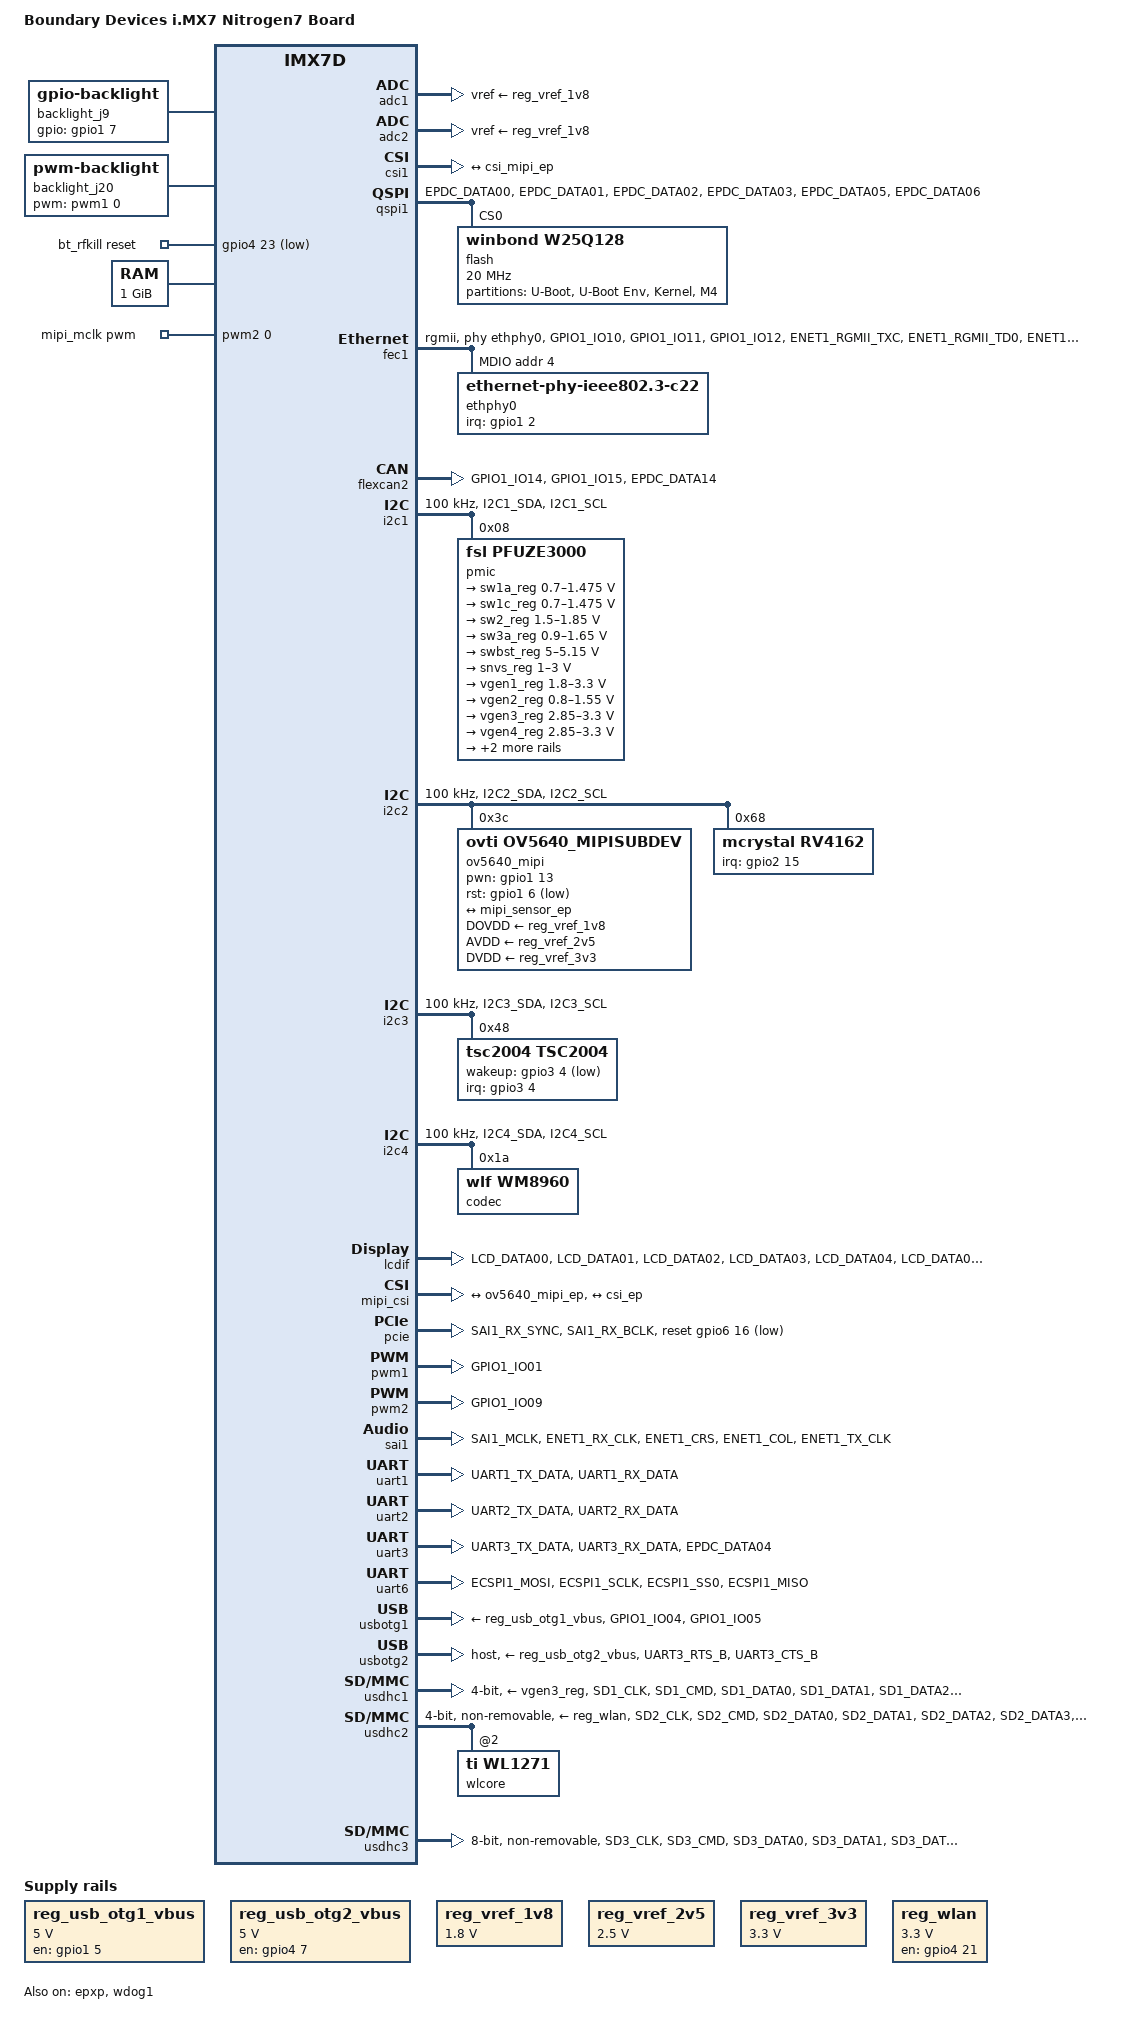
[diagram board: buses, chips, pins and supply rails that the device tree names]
/*
 * Copyright (C) 2015 Boundary Devices Inc.
 *
 * This program is free software; you can redistribute it and/or modify
 * it under the terms of the GNU General Public License version 2 as
 * published by the Free Software Foundation.
 */

/dts-v1/;

#include <dt-bindings/gpio/gpio.h>
#include <dt-bindings/input/input.h>
#include "imx7d.dtsi"

&iomuxc {
	pinctrl-names = "default";
	pinctrl-0 = <&pinctrl_hog_1 &pinctrl_j2>;

	iomuxc_nitrogen7: iomuxc-nitrogen7grp {
		status = "okay";
	};
};

&iomuxc_lpsr {
	pinctrl-names = "default";
	pinctrl-0 = <&pinctrl_hog_2>;

	iomuxc_lpsr_nitrogen7: iomuxc-lpsr-nitrogen7grp {
		status = "okay";
	};
};

&iomuxc_nitrogen7 {
	pinctrl_hog_1: hoggrp-1 {
		fsl,pins = <
			MX7D_PAD_SD3_RESET_B__GPIO6_IO11	0x5d /* eMMC reset */
			MX7D_PAD_GPIO1_IO13__GPIO1_IO13		0x7d /* MIPI backlight */
			MX7D_PAD_ECSPI2_MISO__GPIO4_IO22	0x7d /* pmic */
		>;
	};

	pinctrl_bt_rfkill: btrfkillgrp {
		fsl,pins = <
			MX7D_PAD_ECSPI2_SS0__GPIO4_IO23		0x7d
		>;
	};

	pinctrl_enet1: enet1grp {
		fsl,pins = <
			MX7D_PAD_GPIO1_IO10__ENET1_MDIO			0x3
			MX7D_PAD_GPIO1_IO11__ENET1_MDC			0x3
			MX7D_PAD_GPIO1_IO12__CCM_ENET_REF_CLK1		0x3
			MX7D_PAD_ENET1_RGMII_TXC__ENET1_RGMII_TXC	0x71
			MX7D_PAD_ENET1_RGMII_TD0__ENET1_RGMII_TD0	0x71
			MX7D_PAD_ENET1_RGMII_TD1__ENET1_RGMII_TD1	0x71
			MX7D_PAD_ENET1_RGMII_TD2__ENET1_RGMII_TD2	0x71
			MX7D_PAD_ENET1_RGMII_TD3__ENET1_RGMII_TD3	0x71
			MX7D_PAD_ENET1_RGMII_TX_CTL__ENET1_RGMII_TX_CTL	0x71
			MX7D_PAD_ENET1_RGMII_RXC__ENET1_RGMII_RXC	0x71
			MX7D_PAD_ENET1_RGMII_RD0__ENET1_RGMII_RD0	0x11
			MX7D_PAD_ENET1_RGMII_RD1__ENET1_RGMII_RD1	0x11
			MX7D_PAD_ENET1_RGMII_RD2__ENET1_RGMII_RD2	0x11
			MX7D_PAD_ENET1_RGMII_RD3__ENET1_RGMII_RD3	0x71
			MX7D_PAD_ENET1_RGMII_RX_CTL__ENET1_RGMII_RX_CTL	0x11
			MX7D_PAD_SD3_STROBE__GPIO6_IO10			0x75 /* Reset */
		>;
	};

	pinctrl_flash: flashgrp {
		fsl,pins = <
			MX7D_PAD_EPDC_DATA00__QSPI_A_DATA0	0x71
			MX7D_PAD_EPDC_DATA01__QSPI_A_DATA1	0x71
			MX7D_PAD_EPDC_DATA02__QSPI_A_DATA2	0x71
			MX7D_PAD_EPDC_DATA03__QSPI_A_DATA3	0x71
			MX7D_PAD_EPDC_DATA05__QSPI_A_SCLK	0x71
			MX7D_PAD_EPDC_DATA06__QSPI_A_SS0_B	0x71
		>;
	};

	pinctrl_flexcan2: flexcan2grp {
		fsl,pins = <
			MX7D_PAD_GPIO1_IO14__FLEXCAN2_RX	0x7d
			MX7D_PAD_GPIO1_IO15__FLEXCAN2_TX	0x7d
			MX7D_PAD_EPDC_DATA14__GPIO2_IO14	0x7d
		>;
	};

	pinctrl_i2c1: i2c1grp {
		fsl,pins = <
			MX7D_PAD_I2C1_SDA__I2C1_SDA	0x4000007f
			MX7D_PAD_I2C1_SCL__I2C1_SCL	0x4000007f
		>;
	};

	pinctrl_i2c2: i2c2grp {
		fsl,pins = <
			MX7D_PAD_I2C2_SDA__I2C2_SDA	0x4000007f
			MX7D_PAD_I2C2_SCL__I2C2_SCL	0x4000007f
		>;
	};

	pinctrl_i2c2_rv4162: i2c2-rv4162grp {
		fsl,pins = <
			MX7D_PAD_EPDC_DATA15__GPIO2_IO15	0x7d
		>;
	};

	pinctrl_i2c3: i2c3grp {
		fsl,pins = <
			MX7D_PAD_I2C3_SDA__I2C3_SDA	0x4000007f
			MX7D_PAD_I2C3_SCL__I2C3_SCL	0x4000007f
		>;
	};

	pinctrl_i2c3_tsc2004: i2c3tsc2004grp {
		fsl,pins = <
			MX7D_PAD_LCD_RESET__GPIO3_IO4	0x79
			MX7D_PAD_SD2_WP__GPIO5_IO10	0x7d
		>;
	};

	pinctrl_i2c4: i2c4grp {
		fsl,pins = <
			MX7D_PAD_I2C4_SDA__I2C4_SDA	0x4000007f
			MX7D_PAD_I2C4_SCL__I2C4_SCL	0x4000007f
		>;
	};

	pinctrl_j2: j2grp {
		fsl,pins = <
			MX7D_PAD_SAI1_TX_DATA__GPIO6_IO15	0x7d /* pin 1 */
			MX7D_PAD_EPDC_BDR0__GPIO2_IO28		0x7d /* pin 2 */
			MX7D_PAD_SAI1_RX_DATA__GPIO6_IO12	0x7d /* pin 3 */
			MX7D_PAD_EPDC_BDR1__GPIO2_IO29		0x7d /* pin 4 */
			MX7D_PAD_SD1_WP__GPIO5_IO1		0x7d /* pin 5 */
			MX7D_PAD_EPDC_SDSHR__GPIO2_IO19		0x7d /* pin 6 */
			MX7D_PAD_SD1_RESET_B__GPIO5_IO2		0x7d /* pin 7 */
			MX7D_PAD_SD2_RESET_B__GPIO5_IO11	0x7d /* pin 10 */
			MX7D_PAD_EPDC_DATA07__GPIO2_IO7		0x7d /* pin 15 */
			MX7D_PAD_EPDC_DATA08__GPIO2_IO8		0x7d /* pin 17 */
			MX7D_PAD_EPDC_DATA09__GPIO2_IO9		0x7d /* pin 19 */
			MX7D_PAD_EPDC_DATA10__GPIO2_IO10	0x7d /* pin 21 */
			MX7D_PAD_EPDC_DATA11__GPIO2_IO11	0x7d /* pin 23 */
			MX7D_PAD_EPDC_DATA12__GPIO2_IO12	0x7d /* pin 25 */
			MX7D_PAD_SAI1_TX_SYNC__GPIO6_IO14	0x7d /* pin 26 */
			MX7D_PAD_EPDC_DATA13__GPIO2_IO13	0x7d /* pin 27 */
			MX7D_PAD_SAI1_TX_BCLK__GPIO6_IO13	0x7d /* pin 28 */
			MX7D_PAD_SD2_CD_B__GPIO5_IO9		0x7d /* pin 30 */
			MX7D_PAD_EPDC_GDCLK__GPIO2_IO24		0x7d /* pin 33 */
			MX7D_PAD_SAI2_RX_DATA__GPIO6_IO21	0x7d /* pin 34 */
			MX7D_PAD_EPDC_GDOE__GPIO2_IO25		0x7d /* pin 35 */
			MX7D_PAD_EPDC_GDRL__GPIO2_IO26		0x7d /* pin 37 */
			MX7D_PAD_SAI2_TX_DATA__GPIO6_IO22	0x7d /* pin 38 */
			MX7D_PAD_EPDC_SDCE0__GPIO2_IO20		0x7d /* pin 39 */
			MX7D_PAD_SAI2_TX_BCLK__GPIO6_IO20	0x7d /* pin 40 */
			MX7D_PAD_EPDC_SDCE1__GPIO2_IO21		0x7d /* pin 41 */
			MX7D_PAD_SAI2_TX_SYNC__GPIO6_IO19	0x7d /* pin 42 */
			MX7D_PAD_EPDC_SDCE2__GPIO2_IO22		0x7d /* pin 43 */
			MX7D_PAD_EPDC_SDCE3__GPIO2_IO23		0x7d /* pin 45 */
			MX7D_PAD_EPDC_GDSP__GPIO2_IO27		0x7d /* pin 47 */
			MX7D_PAD_EPDC_SDCLK__GPIO2_IO16		0x7d /* pin 51 */
			MX7D_PAD_EPDC_SDLE__GPIO2_IO17		0x7d /* pin 53 */
			MX7D_PAD_EPDC_SDOE__GPIO2_IO18		0x7d /* pin 55 */
			MX7D_PAD_EPDC_PWR_COM__GPIO2_IO30	0x7d /* pin 57 */
			MX7D_PAD_EPDC_PWR_STAT__GPIO2_IO31	0x7d /* pin 59 */
		>;
	};

	pinctrl_lcdif_dat: lcdifdatgrp {
		fsl,pins = <
			MX7D_PAD_LCD_DATA00__LCD_DATA0		0x79
			MX7D_PAD_LCD_DATA01__LCD_DATA1		0x79
			MX7D_PAD_LCD_DATA02__LCD_DATA2		0x79
			MX7D_PAD_LCD_DATA03__LCD_DATA3		0x79
			MX7D_PAD_LCD_DATA04__LCD_DATA4		0x79
			MX7D_PAD_LCD_DATA05__LCD_DATA5		0x79
			MX7D_PAD_LCD_DATA06__LCD_DATA6		0x79
			MX7D_PAD_LCD_DATA07__LCD_DATA7		0x79
			MX7D_PAD_LCD_DATA08__LCD_DATA8		0x79
			MX7D_PAD_LCD_DATA09__LCD_DATA9		0x79
			MX7D_PAD_LCD_DATA10__LCD_DATA10		0x79
			MX7D_PAD_LCD_DATA11__LCD_DATA11		0x79
			MX7D_PAD_LCD_DATA12__LCD_DATA12		0x79
			MX7D_PAD_LCD_DATA13__LCD_DATA13		0x79
			MX7D_PAD_LCD_DATA14__LCD_DATA14		0x79
			MX7D_PAD_LCD_DATA15__LCD_DATA15		0x79
			MX7D_PAD_LCD_DATA16__LCD_DATA16		0x79
			MX7D_PAD_LCD_DATA17__LCD_DATA17		0x79
			MX7D_PAD_LCD_DATA18__LCD_DATA18		0x79
			MX7D_PAD_LCD_DATA19__LCD_DATA19		0x79
			MX7D_PAD_LCD_DATA20__LCD_DATA20		0x79
			MX7D_PAD_LCD_DATA21__LCD_DATA21		0x79
			MX7D_PAD_LCD_DATA22__LCD_DATA22		0x79
			MX7D_PAD_LCD_DATA23__LCD_DATA23		0x79
		>;
	};

	pinctrl_lcdif_ctrl: lcdifctrlgrp {
		fsl,pins = <
			MX7D_PAD_LCD_CLK__LCD_CLK		0x79
			MX7D_PAD_LCD_ENABLE__LCD_ENABLE		0x79
			MX7D_PAD_LCD_VSYNC__LCD_VSYNC		0x79
			MX7D_PAD_LCD_HSYNC__LCD_HSYNC		0x79
		>;
	};

	pinctrl_pcie: pciegrp {
		fsl,pins = <
			MX7D_PAD_SAI1_RX_SYNC__GPIO6_IO16	0x79
			MX7D_PAD_SAI1_RX_BCLK__GPIO6_IO17	0x79
		>;
	};

	pinctrl_pwm2: pwm2grp {
		fsl,pins = <
			MX7D_PAD_GPIO1_IO09__PWM2_OUT		0x7d
		>;
	};

	pinctrl_uart1: uart1grp {
		fsl,pins = <
			MX7D_PAD_UART1_TX_DATA__UART1_DCE_TX	0x79
			MX7D_PAD_UART1_RX_DATA__UART1_DCE_RX	0x79
		>;
	};

	pinctrl_uart2: uart2grp {
		fsl,pins = <
			MX7D_PAD_UART2_TX_DATA__UART2_DCE_TX	0x79
			MX7D_PAD_UART2_RX_DATA__UART2_DCE_RX	0x79
		>;
	};

	pinctrl_uart3: uart3grp {
		fsl,pins = <
			MX7D_PAD_UART3_TX_DATA__UART3_DCE_TX	0x79
			MX7D_PAD_UART3_RX_DATA__UART3_DCE_RX	0x79
			MX7D_PAD_EPDC_DATA04__GPIO2_IO4		0x7d
		>;
	};

	pinctrl_uart6: uart6grp {
		fsl,pins = <
			MX7D_PAD_ECSPI1_MOSI__UART6_DCE_TX	0x79
			MX7D_PAD_ECSPI1_SCLK__UART6_DCE_RX 	0x79
			MX7D_PAD_ECSPI1_SS0__UART6_DCE_CTS 	0x79
			MX7D_PAD_ECSPI1_MISO__UART6_DCE_RTS	0x79
		>;
	};

	pinctrl_usbotg2: usbotg2grp {
		fsl,pins = <
			MX7D_PAD_UART3_RTS_B__USB_OTG2_OC	0x7d
			MX7D_PAD_UART3_CTS_B__GPIO4_IO7		0x14
		>;
	};

	pinctrl_usdhc1: usdhc1grp {
		fsl,pins = <
			MX7D_PAD_SD1_CLK__SD1_CLK		0x0a
			MX7D_PAD_SD1_CMD__SD1_CMD		0x5a
			MX7D_PAD_SD1_DATA0__SD1_DATA0		0x5a
			MX7D_PAD_SD1_DATA1__SD1_DATA1		0x5a
			MX7D_PAD_SD1_DATA2__SD1_DATA2		0x5a
			MX7D_PAD_SD1_DATA3__SD1_DATA3		0x5a
			MX7D_PAD_GPIO1_IO08__SD1_VSELECT	0x75
			MX7D_PAD_SD1_CD_B__GPIO5_IO0		0x75
		>;
	};

	pinctrl_usdhc1_100mhz: usdhc1grp_100mhz {
		fsl,pins = <
			MX7D_PAD_SD1_CLK__SD1_CLK		0x09
			MX7D_PAD_SD1_CMD__SD1_CMD		0x59
			MX7D_PAD_SD1_DATA0__SD1_DATA0		0x59
			MX7D_PAD_SD1_DATA1__SD1_DATA1		0x59
			MX7D_PAD_SD1_DATA2__SD1_DATA2		0x59
			MX7D_PAD_SD1_DATA3__SD1_DATA3		0x59
		>;
	};

	pinctrl_usdhc1_200mhz: usdhc1grp_200mhz {
		fsl,pins = <
			MX7D_PAD_SD1_CLK__SD1_CLK		0x0b
			MX7D_PAD_SD1_CMD__SD1_CMD		0x5b
			MX7D_PAD_SD1_DATA0__SD1_DATA0		0x5b
			MX7D_PAD_SD1_DATA1__SD1_DATA1		0x5b
			MX7D_PAD_SD1_DATA2__SD1_DATA2		0x5b
			MX7D_PAD_SD1_DATA3__SD1_DATA3		0x5b
		>;
	};

	pinctrl_usdhc2: usdhc2grp {
		fsl,pins = <
			MX7D_PAD_SD2_CLK__SD2_CLK		0x0a
			MX7D_PAD_SD2_CMD__SD2_CMD		0x5a
			MX7D_PAD_SD2_DATA0__SD2_DATA0		0x5a
			MX7D_PAD_SD2_DATA1__SD2_DATA1   	0x5a
			MX7D_PAD_SD2_DATA2__SD2_DATA2   	0x5a
			MX7D_PAD_SD2_DATA3__SD2_DATA3   	0x5a
#define GPIRQ_WL1271	<&gpio4 20 IRQ_TYPE_LEVEL_HIGH>
			MX7D_PAD_ECSPI2_SCLK__GPIO4_IO20	0x5a /* WL_HOST_WAKE */
			MX7D_PAD_ECSPI2_MOSI__GPIO4_IO21	0x5a /* WL_REG_ON */
		>;
	};

	pinctrl_usdhc2_100mhz: usdhc2grp_100mhz {
		fsl,pins = <
			MX7D_PAD_SD2_CLK__SD2_CLK	0x09
			MX7D_PAD_SD2_CMD__SD2_CMD	0x59
			MX7D_PAD_SD2_DATA0__SD2_DATA0	0x59
			MX7D_PAD_SD2_DATA1__SD2_DATA1   0x59
			MX7D_PAD_SD2_DATA2__SD2_DATA2   0x59
			MX7D_PAD_SD2_DATA3__SD2_DATA3   0x59
		>;
	};

	pinctrl_usdhc2_200mhz: usdhc2grp_200mhz {
		fsl,pins = <
			MX7D_PAD_SD2_CLK__SD2_CLK	0x0b
			MX7D_PAD_SD2_CMD__SD2_CMD	0x5b
			MX7D_PAD_SD2_DATA0__SD2_DATA0	0x5b
			MX7D_PAD_SD2_DATA1__SD2_DATA1   0x5b
			MX7D_PAD_SD2_DATA2__SD2_DATA2   0x5b
			MX7D_PAD_SD2_DATA3__SD2_DATA3   0x5b
		>;
	};

	pinctrl_usdhc3: usdhc3grp {
		fsl,pins = <
			MX7D_PAD_SD3_CLK__SD3_CLK	0x0a
			MX7D_PAD_SD3_CMD__SD3_CMD	0x5a
			MX7D_PAD_SD3_DATA0__SD3_DATA0	0x5a
			MX7D_PAD_SD3_DATA1__SD3_DATA1	0x5a
			MX7D_PAD_SD3_DATA2__SD3_DATA2	0x5a
			MX7D_PAD_SD3_DATA3__SD3_DATA3	0x5a
			MX7D_PAD_SD3_DATA4__SD3_DATA4	0x5a
			MX7D_PAD_SD3_DATA5__SD3_DATA5	0x5a
			MX7D_PAD_SD3_DATA6__SD3_DATA6	0x5a
			MX7D_PAD_SD3_DATA7__SD3_DATA7	0x5a
		>;
	};

	pinctrl_usdhc3_100mhz: usdhc3grp_100mhz {
		fsl,pins = <
			MX7D_PAD_SD3_CLK__SD3_CLK	0x09
			MX7D_PAD_SD3_CMD__SD3_CMD	0x59
			MX7D_PAD_SD3_DATA0__SD3_DATA0	0x59
			MX7D_PAD_SD3_DATA1__SD3_DATA1	0x59
			MX7D_PAD_SD3_DATA2__SD3_DATA2	0x59
			MX7D_PAD_SD3_DATA3__SD3_DATA3	0x59
			MX7D_PAD_SD3_DATA4__SD3_DATA4	0x59
			MX7D_PAD_SD3_DATA5__SD3_DATA5	0x59
			MX7D_PAD_SD3_DATA6__SD3_DATA6	0x59
			MX7D_PAD_SD3_DATA7__SD3_DATA7	0x59
		>;
	};

	pinctrl_usdhc3_200mhz: usdhc3grp_200mhz {
		fsl,pins = <
			MX7D_PAD_SD3_CLK__SD3_CLK	0x0b
			MX7D_PAD_SD3_CMD__SD3_CMD	0x5b
			MX7D_PAD_SD3_DATA0__SD3_DATA0	0x5b
			MX7D_PAD_SD3_DATA1__SD3_DATA1	0x5b
			MX7D_PAD_SD3_DATA2__SD3_DATA2	0x5b
			MX7D_PAD_SD3_DATA3__SD3_DATA3	0x5b
			MX7D_PAD_SD3_DATA4__SD3_DATA4	0x5b
			MX7D_PAD_SD3_DATA5__SD3_DATA5	0x5b
			MX7D_PAD_SD3_DATA6__SD3_DATA6	0x5b
			MX7D_PAD_SD3_DATA7__SD3_DATA7	0x5b
		>;
	};

	pinctrl_sai1: sai1grp {
		fsl,pins = <
			MX7D_PAD_SAI1_MCLK__SAI1_MCLK           0x1f
			MX7D_PAD_ENET1_RX_CLK__SAI1_TX_BCLK     0x1f
			MX7D_PAD_ENET1_CRS__SAI1_TX_SYNC	0x1f
			MX7D_PAD_ENET1_COL__SAI1_TX_DATA0	0x30
			MX7D_PAD_ENET1_TX_CLK__SAI1_RX_DATA0	0x1f
		>;
	};
};

&iomuxc_lpsr_nitrogen7 {
	pinctrl_hog_2: hoggrp-2 {
		fsl,pins = <
			MX7D_PAD_GPIO1_IO02__GPIO1_IO2	0x7d /* ENET INT */
			MX7D_PAD_GPIO1_IO03__CCM_CLKO2	0x7d /* Slow clock */
		>;
	};

	pinctrl_backlight_j9: backlightj9grp {
		fsl,pins = <
			MX7D_PAD_GPIO1_IO07__GPIO1_IO7	0x7d /* J9 pin 3 */
		>;
	};

	pinctrl_mipi_csi: mipicsigrp-1 {
		fsl,pins = <
			MX7D_PAD_GPIO1_IO06__GPIO1_IO6	0x15 /* MIPI reset */
		>;
	};

	pinctrl_pwm1: pwm1grp {
		fsl,pins = <
			MX7D_PAD_GPIO1_IO01__PWM1_OUT	0x7d
		>;
	};

	pinctrl_usbotg1: usbotg1grp {
		fsl,pins = <
			MX7D_PAD_GPIO1_IO04__USB_OTG1_OC	0x7d
			MX7D_PAD_GPIO1_IO05__GPIO1_IO5		0x14
		>;
	};

	pinctrl_wdog1: wdog1grp {
		fsl,pins = <
			MX7D_PAD_GPIO1_IO00__WDOD1_WDOG_B	0x75
		>;
	};
};

/ {
	model = "Boundary Devices i.MX7 Nitrogen7 Board";
	compatible = "boundary,imx7d-nitrogen7", "fsl,imx7d";

	aliases {
		fb_lcd = &lcdif;
		lcd = &display0;
		mmc0 = &usdhc1;
		mmc1 = &usdhc3;
		mmc2 = &usdhc2;
		t_lcd = &t_lcd;
	};

	backlight_j9 {
		compatible = "gpio-backlight";
		pinctrl-names = "default";
		pinctrl-0 = <&pinctrl_backlight_j9>;
		gpios = <&gpio1 7 GPIO_ACTIVE_HIGH>;
		default-on;
	};

	backlight_j20 {
		compatible = "pwm-backlight";
		pwms = <&pwm1 0 5000000>;
		brightness-levels = <0 4 8 16 32 64 128 255>;
		default-brightness-level = <6>;
		status = "okay";
	};

	bt_rfkill {
		compatible = "net,rfkill-gpio";
		pinctrl-names = "default";
		pinctrl-0 = <&pinctrl_bt_rfkill>;
		name = "bt_rfkill";
		type = <2>;     /* bluetooth */
		reset-gpios = <&gpio4 23 GPIO_ACTIVE_LOW>;
		clocks = <&clks IMX7D_CLKO2_ROOT_DIV>;
	};

	memory {
		reg = <0x80000000 0x40000000>;
	};

	mipi_mclk: mipi_mclk {
		compatible = "pwm-clock";
		#clock-cells = <0>;
		clock-frequency = <22000000>;
		clock-output-names = "mipi_mclk";
		pwms = <&pwm2 0 45>; /* 1 / 45 ns = 22 MHz */
	};

	pxp_v4l2_out {
		compatible = "fsl,imx7d-pxp-v4l2", "fsl,imx6sx-pxp-v4l2", "fsl,imx6sl-pxp-v4l2";
		status = "okay";
	};

	regulators {
		compatible = "simple-bus";
		#address-cells = <1>;
		#size-cells = <0>;

		reg_usb_otg1_vbus: regulator@0 {
			compatible = "regulator-fixed";
			reg = <0>;
			regulator-name = "usb_otg1_vbus";
			regulator-min-microvolt = <5000000>;
			regulator-max-microvolt = <5000000>;
			gpio = <&gpio1 5 GPIO_ACTIVE_HIGH>;
			enable-active-high;
		};

		reg_usb_otg2_vbus: regulator@1 {
			compatible = "regulator-fixed";
			reg = <1>;
			regulator-name = "usb_otg2_vbus";
			regulator-min-microvolt = <5000000>;
			regulator-max-microvolt = <5000000>;
			gpio = <&gpio4 7 GPIO_ACTIVE_HIGH>;
			enable-active-high;
		};

		reg_vref_1v8: regulator@2 {
			compatible = "regulator-fixed";
			regulator-name = "vref-1v8";
			regulator-min-microvolt = <1800000>;
			regulator-max-microvolt = <1800000>;
		};

		reg_vref_2v5: regulator@3 {
			compatible = "regulator-fixed";
			regulator-name = "vref-2v5";
			regulator-min-microvolt = <2500000>;
			regulator-max-microvolt = <2500000>;
		};

		reg_vref_3v3: regulator@4 {
			compatible = "regulator-fixed";
			regulator-name = "vref-3v3";
			regulator-min-microvolt = <3300000>;
			regulator-max-microvolt = <3300000>;
		};

		reg_wlan: regulator@5 {
			compatible = "regulator-fixed";
			regulator-min-microvolt = <3300000>;
			regulator-max-microvolt = <3300000>;
			clocks = <&clks IMX7D_CLKO2_ROOT_DIV>;
			clock-names = "slow";
			regulator-name = "reg_wlan";
			startup-delay-us = <70000>;
			gpio = <&gpio4 21 GPIO_ACTIVE_HIGH>;
			enable-active-high;
		};
	};

	sound {
		compatible = "fsl,imx7d-nitrogen7-wm8960",
			   "fsl,imx-audio-wm8960";
		model = "wm8960-audio";
		cpu-dai = <&sai1>;
		audio-codec = <&codec>;
		codec-master;
		/* JD2: hp detect high for headphone*/
		hp-det = <2 0>;
		audio-routing =
			"Headphone Jack", "HP_L",
			"Headphone Jack", "HP_R",
			"Ext Spk", "SPK_LP",
			"Ext Spk", "SPK_LN",
			"Ext Spk", "SPK_RP",
			"Ext Spk", "SPK_RN",
			"LINPUT1", "Main MIC",
			"Main MIC", "MICB";
		assigned-clocks = <&clks IMX7D_AUDIO_MCLK_ROOT_SRC>,
				  <&clks IMX7D_AUDIO_MCLK_ROOT_CLK>;
		assigned-clock-parents = <&clks IMX7D_PLL_AUDIO_POST_DIV>;
		assigned-clock-rates = <0>, <12288000>;
	};
};

&clks {
	assigned-clocks = <&clks IMX7D_CLKO2_ROOT_SRC>,
			  <&clks IMX7D_CLKO2_ROOT_DIV>,
			  <&clks IMX7D_PLL_AUDIO_POST_DIV>;
	assigned-clock-parents = <&clks IMX7D_CKIL>;
	assigned-clock-rates = <0>, <32768>, <884736000>;
};

&cpu0 {
	arm-supply = <&sw1a_reg>;
};

&epxp {
	status = "okay";
};

&adc1 {
	vref-supply = <&reg_vref_1v8>;
	status = "okay";
};

&adc2 {
	vref-supply = <&reg_vref_1v8>;
	status = "okay";
};

&csi1 {
	csi-mux-mipi = <&gpr 0x14 4>;
	status = "okay";

	port {
		csi_ep: endpoint {
			remote-endpoint = <&csi_mipi_ep>;
		};
	};
};

&qspi1 {
	pinctrl-names = "default";
	pinctrl-0 = <&pinctrl_flash>;
	status = "okay";

	flash: m25p80@0 {
		compatible = "winbond,w25q128";
		spi-max-frequency = <20000000>;
		reg = <0>;
		#address-cells = <1>;
		#size-cells = <1>;
		partition@0 {
			label = "U-Boot";
			reg = <0x0 0xC0000>;
			read-only;
		};
		partition@C0000 {
			label = "U-Boot Env";
			reg = <0xC0000 0x2000>;
			read-only;
		};
		partition@C2000 {
			label = "Kernel";
			reg = <0xC2000 0x11e000>;
		};
		partition@1E0000 {
			label = "M4";
			reg = <0x1E0000 0x20000>;
		};
	};
};

&fec1 {
	pinctrl-names = "default";
	pinctrl-0 = <&pinctrl_enet1>;
#if 0
	phy-reset-gpios = <&gpio6 10 GPIO_ACTIVE_HIGH>;
#endif
	assigned-clocks = <&clks IMX7D_ENET1_TIME_ROOT_SRC>,
			  <&clks IMX7D_ENET1_TIME_ROOT_CLK>;
	assigned-clock-parents = <&clks IMX7D_PLL_ENET_MAIN_100M_CLK>;
	assigned-clock-rates = <0>, <100000000>;
	phy-mode = "rgmii";
	phy-handle = <&ethphy0>;
	fsl,magic-packet;
	status = "okay";

	mdio {
		#address-cells = <1>;
		#size-cells = <0>;

		ethphy0: ethernet-phy@4 {
			compatible = "ethernet-phy-ieee802.3-c22";
			reg = <4>;
			interrupts-extended = <&gpio1 2 IRQ_TYPE_LEVEL_LOW>;
		};
	};
};

&flexcan2 {
	pinctrl-names = "default";
	pinctrl-0 = <&pinctrl_flexcan2>;
	trx-stby-gpio = <&gpio2 14 GPIO_ACTIVE_HIGH>;
	status = "okay";
};

&i2c1 {
	clock-frequency = <100000>;
	pinctrl-names = "default";
	pinctrl-0 = <&pinctrl_i2c1>;
	status = "okay";

	pmic: pfuze3000@08 {
		compatible = "fsl,pfuze3000";
		reg = <0x08>;

		regulators {
			sw1a_reg: sw1a {
				regulator-min-microvolt = <700000>;
				regulator-max-microvolt = <1475000>;
				regulator-boot-on;
				regulator-always-on;
				regulator-ramp-delay = <6250>;
			};

			/* use sw1c_reg to align with pfuze100/pfuze200 */
			sw1c_reg: sw1b {
				regulator-min-microvolt = <700000>;
				regulator-max-microvolt = <1475000>;
				regulator-boot-on;
				regulator-always-on;
				regulator-ramp-delay = <6250>;
			};

			sw2_reg: sw2 {
				regulator-min-microvolt = <1500000>;
				regulator-max-microvolt = <1850000>;
				regulator-boot-on;
				regulator-always-on;
			};

			sw3a_reg: sw3 {
				regulator-min-microvolt = <900000>;
				regulator-max-microvolt = <1650000>;
				regulator-boot-on;
				regulator-always-on;
			};

			swbst_reg: swbst {
				regulator-min-microvolt = <5000000>;
				regulator-max-microvolt = <5150000>;
			};

			snvs_reg: vsnvs {
				regulator-min-microvolt = <1000000>;
				regulator-max-microvolt = <3000000>;
				regulator-boot-on;
				regulator-always-on;
			};

			vref_reg: vrefddr {
				regulator-boot-on;
				regulator-always-on;
			};

			vgen1_reg: vldo1 {
				regulator-min-microvolt = <1800000>;
				regulator-max-microvolt = <3300000>;
				regulator-always-on;
			};

			vgen2_reg: vldo2 {
				regulator-min-microvolt = <800000>;
				regulator-max-microvolt = <1550000>;
				regulator-always-on;
			};

			vgen3_reg: vccsd {
				regulator-min-microvolt = <2850000>;
				regulator-max-microvolt = <3300000>;
				regulator-always-on;
			};

			vgen4_reg: v33 {
				regulator-min-microvolt = <2850000>;
				regulator-max-microvolt = <3300000>;
				regulator-always-on;
			};

			vgen5_reg: vldo3 {
				regulator-min-microvolt = <1800000>;
				regulator-max-microvolt = <3300000>;
				regulator-always-on;
			};

			vgen6_reg: vldo4 {
				regulator-min-microvolt = <1800000>;
				regulator-max-microvolt = <3300000>;
				regulator-always-on;
			};
		};
	};
};

&i2c2 {
	clock-frequency = <100000>;
	pinctrl-names = "default";
	pinctrl-0 = <&pinctrl_i2c2>;
	status = "okay";

	ov5640_mipi: ov5640_mipi@3c {
		compatible = "ovti,ov5640_mipisubdev";
		reg = <0x3c>;
		pinctrl-names = "default";
		pinctrl-0 = <&pinctrl_mipi_csi>;
		clocks = <&mipi_mclk>;
		clock-names = "csi_mclk";
		DOVDD-supply = <&reg_vref_1v8>;
		AVDD-supply = <&reg_vref_2v5>;
		DVDD-supply = <&reg_vref_3v3>;
		pwn-gpios = <&gpio1 13 GPIO_ACTIVE_HIGH>;
		rst-gpios = <&gpio1 6 GPIO_ACTIVE_LOW>;
		csi_id = <0>;
		mclk = <22000000>;
		mclk_source = <0>;
		port {
			ov5640_mipi_ep: endpoint {
				remote-endpoint = <&mipi_sensor_ep>;
			};
		};
	};

	rv4162@68 {
		compatible = "mcrystal,rv4162";
		pinctrl-names = "default";
		pinctrl-0 = <&pinctrl_i2c2_rv4162>;
		reg = <0x68>;
		interrupts-extended = <&gpio2 15 IRQ_TYPE_LEVEL_LOW>;
	};
};

&i2c3 {
	clock-frequency = <100000>;
	pinctrl-names = "default";
	pinctrl-0 = <&pinctrl_i2c3>;
	status = "okay";

	tsc2004: tsc2004@48 {
		compatible = "tsc2004,tsc2004";
		reg = <0x48>;
		pinctrl-names = "default";
		pinctrl-0 = <&pinctrl_i2c3_tsc2004>;
		interrupts-extended = <&gpio3 4 IRQ_TYPE_EDGE_FALLING>;
		wakeup-gpios = <&gpio3 4 GPIO_ACTIVE_LOW>;
	};
};

&i2c4 {
	clock-frequency = <100000>;
	pinctrl-names = "default";
	pinctrl-0 = <&pinctrl_i2c4>;
	status = "okay";

	codec: wm8960@1a {
		compatible = "wlf,wm8960";
		reg = <0x1a>;
		clocks = <&clks IMX7D_AUDIO_MCLK_ROOT_CLK>;
		clock-names = "mclk";
		wlf,shared-lrclk;
	};
};

&lcdif {
	pinctrl-names = "default";
	pinctrl-0 = <&pinctrl_lcdif_dat
		     &pinctrl_lcdif_ctrl>;
	lcd-supply = <&reg_vref_3v3>;
	display = <&display0>;
	status = "okay";

	display0: lcd-display {
		bits-per-pixel = <16>;
		bus-width = <18>;

		display-timings {
			native-mode = <&t_lcd>;
			t_lcd: t_lcd_default {
				/* default to Okaya display */
				clock-frequency = <30000000>;
				hactive = <800>;
				vactive = <480>;
				hfront-porch = <40>;
				hback-porch = <40>;
				hsync-len = <48>;
				vback-porch = <29>;
				vfront-porch = <13>;
				vsync-len = <3>;
				hsync-active = <0>;
				vsync-active = <0>;
				de-active = <1>;
				pixelclk-active = <0>;
			};
		};
	};
};

&mipi_csi {
	status = "okay";
	port {
		mipi_sensor_ep: endpoint1 {
			remote-endpoint = <&ov5640_mipi_ep>;
			data-lanes = <2>;
			csis-hs-settle = <13>;
			csis-wclk;
		};

		csi_mipi_ep: endpoint2 {
			remote-endpoint = <&csi_ep>;
		};
	};
};

&pcie {
	pinctrl-names = "default";
	pinctrl-0 = <&pinctrl_pcie>;
	reset-gpios = <&gpio6 16 GPIO_ACTIVE_LOW>;
	disable-gpio = <&gpio6 17 GPIO_ACTIVE_LOW>;
	status = "okay";
};

&pwm1 {
	pinctrl-names = "default";
	pinctrl-0 = <&pinctrl_pwm1>;
	status = "okay";
};

&pwm2 {
	pinctrl-names = "default";
	pinctrl-0 = <&pinctrl_pwm2>;
	assigned-clocks = <&clks IMX7D_PWM2_ROOT_SRC>, <&clks IMX7D_PWM2_ROOT_CLK>;
	assigned-clock-parents = <&clks IMX7D_PLL_AUDIO_POST_DIV>;
	assigned-clock-rates = <0>, <49152000>;
	status = "okay";
};

&sai1 {
	pinctrl-names = "default";
	pinctrl-0 = <&pinctrl_sai1>;
	assigned-clocks = <&clks IMX7D_SAI1_ROOT_SRC>,
			  <&clks IMX7D_SAI1_ROOT_CLK>;
	assigned-clock-parents = <&clks IMX7D_PLL_AUDIO_POST_DIV>;
	assigned-clock-rates = <0>, <36864000>;
	status = "okay";
};

&sdma {
	status = "okay";
};

&uart1 {
	pinctrl-names = "default";
	pinctrl-0 = <&pinctrl_uart1>;
	assigned-clocks = <&clks IMX7D_UART1_ROOT_SRC>;
	assigned-clock-parents = <&clks IMX7D_OSC_24M_CLK>;
	status = "okay";
};

&uart2 {
	pinctrl-names = "default";
	pinctrl-0 = <&pinctrl_uart2>;
	assigned-clocks = <&clks IMX7D_UART2_ROOT_SRC>;
	assigned-clock-parents = <&clks IMX7D_OSC_24M_CLK>;
	status = "okay";
};

&uart3 {
	pinctrl-names = "default";
	pinctrl-0 = <&pinctrl_uart3>;
	assigned-clocks = <&clks IMX7D_UART3_ROOT_SRC>;
	assigned-clock-parents = <&clks IMX7D_OSC_24M_CLK>;
	control-gpios = <&gpio2 4 GPIO_ACTIVE_HIGH>;
	rs485_txen_mask = <0x1>;
	rs485_txen_levels = <0x1>;
	uart-has-rs485-half-duplex;
	rs485-mode = <1>;
	status = "okay";
};

&uart6 {
	pinctrl-names = "default";
	pinctrl-0 = <&pinctrl_uart6>;
	assigned-clocks = <&clks IMX7D_UART6_ROOT_SRC>;
	assigned-clock-parents = <&clks IMX7D_PLL_SYS_MAIN_240M_CLK>;
	fsl,uart-has-rtscts;
	status = "okay";
};

&usbotg1 {
	vbus-supply = <&reg_usb_otg1_vbus>;
	pinctrl-names = "default";
	pinctrl-0 = <&pinctrl_usbotg1>;
	status = "okay";
};

&usbotg2 {
	vbus-supply = <&reg_usb_otg2_vbus>;
	pinctrl-names = "default";
	pinctrl-0 = <&pinctrl_usbotg2>;
	dr_mode = "host";
	status = "okay";
};

&usdhc1 {
	pinctrl-names = "default", "state_100mhz", "state_200mhz";
	pinctrl-0 = <&pinctrl_usdhc1>;
	pinctrl-1 = <&pinctrl_usdhc1_100mhz>;
	pinctrl-2 = <&pinctrl_usdhc1_200mhz>;
	bus-width = <4>;
	cd-gpios = <&gpio5 0 GPIO_ACTIVE_LOW>;
	vmmc-supply = <&vgen3_reg>;
	enable-sdio-wakeup;
	no-1-8-v;	/* tmp, 1.8V should work*/
	keep-power-in-suspend;
	status = "okay";
};

&usdhc2 {
	pinctrl-names = "default", "state_100mhz", "state_200mhz";
	pinctrl-0 = <&pinctrl_usdhc2>;
	pinctrl-1 = <&pinctrl_usdhc2_100mhz>;
	pinctrl-2 = <&pinctrl_usdhc2_200mhz>;
	bus-width = <4>;
	non-removable;
	vmmc-supply = <&reg_wlan>;
	vqmmc-1-8-v;
	cap-power-off-card;
	keep-power-in-suspend;
	status = "okay";

	#address-cells = <1>;
	#size-cells = <0>;
	wlcore: wlcore@2 {
		compatible = "ti,wl1271";
		interrupts-extended = GPIRQ_WL1271;
		reg = <2>;
		ref-clock-frequency = <38400000>;
	};
};

&usdhc3 {
	pinctrl-names = "default", "state_100mhz", "state_200mhz";
	pinctrl-0 = <&pinctrl_usdhc3>;
	pinctrl-1 = <&pinctrl_usdhc3_100mhz>;
	pinctrl-2 = <&pinctrl_usdhc3_200mhz>;
	assigned-clocks = <&clks IMX7D_USDHC3_ROOT_CLK>;
	assigned-clock-rates = <400000000>;
	bus-width = <8>;
	non-removable;
	status = "okay";
};

&wdog1 {
	pinctrl-names = "default";
	pinctrl-0 = <&pinctrl_wdog1>;
	status = "okay";
};
